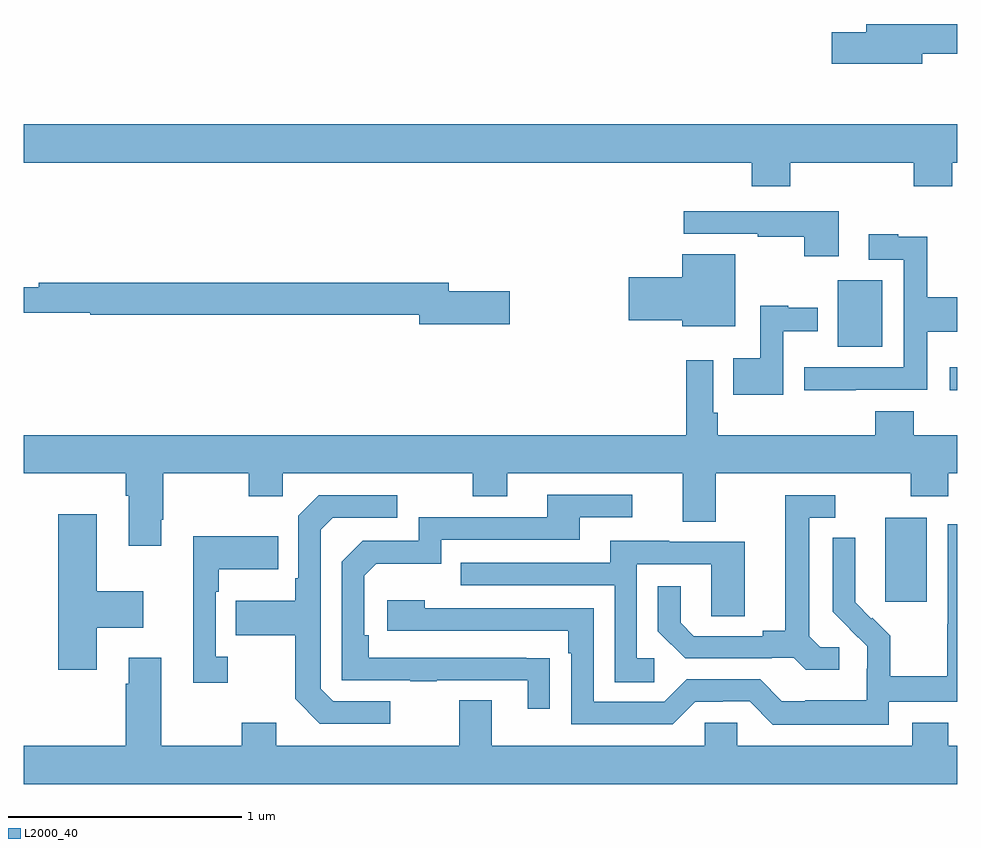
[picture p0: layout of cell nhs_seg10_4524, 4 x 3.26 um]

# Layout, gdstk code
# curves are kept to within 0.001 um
import gdstk
lib = gdstk.Library(unit=1e-6, precision=1e-09)
def R(c, l, rs):  # rectangles x0, y0, x1, y1
    for r in rs: c.add(gdstk.rectangle(r[:2], r[2:], *l))
def P(c, l, *ps):  # polygons
    for p in ps: c.add(gdstk.Polygon(p, *l))
L2000_40 = (2000, 40)

nhs_seg10_4524 = lib.new_cell('nhs_seg10_4524')
R(nhs_seg10_4524, L2000_40, [(372.692,1263.801,372.871,1264.162), (372.969,1264.709,373,1264.807), (372.488,1264.895,372.679,1265.179)])
P(nhs_seg10_4524, L2000_40, [(372.85,1266.15),(373,1266.15),(373,1266.278),(372.611,1266.278),(372.611,1266.242),(372.462,1266.242),(372.462,1266.107),(372.85,1266.107)],
  [(372.284,1265.684),(372.815,1265.684),(372.815,1265.582),(372.98,1265.582),(372.98,1265.684),(373,1265.684),(373,1265.848),(369,1265.848),(369,1265.684),(372.119,1265.684),(372.119,1265.582),(372.284,1265.582)],
  [(372.493,1265.475),(371.829,1265.475),(371.829,1265.379),(372.145,1265.379),(372.145,1265.367),(372.346,1265.367),(372.346,1265.283),(372.493,1265.283)],
  [(372.566,1264.71),(372.872,1264.71),(372.872,1264.958),(373,1264.958),(373,1265.106),(372.872,1265.106),(372.872,1265.366),(372.749,1265.366),(372.749,1265.377),(372.621,1265.377),(372.621,1265.268),(372.771,1265.268),(372.771,1264.806),(372.345,1264.806),(372.345,1264.709),(372.566,1264.709)],
  [(372.049,1265.29),(371.822,1265.29),(371.822,1265.192),(371.592,1265.192),(371.592,1265.009),(371.822,1265.009),(371.822,1264.982),(372.049,1264.982)],
  [(371.083,1265.132),(370.822,1265.132),(370.822,1265.168),(369.064,1265.168),(369.064,1265.149),(369,1265.149),(369,1265.04),(369.284,1265.04),(369.284,1265.032),(370.694,1265.032),(370.694,1264.99),(371.083,1264.99)],
  [(372.255,1264.961),(372.403,1264.961),(372.403,1265.061),(372.276,1265.061),(372.276,1265.071),(372.156,1265.071),(372.156,1264.846),(372.04,1264.846),(372.04,1264.688),(372.255,1264.688)],
  [(369.589,1264.153),(369.597,1264.153),(369.597,1264.352),(369.964,1264.352),(369.964,1264.253),(370.11,1264.253),(370.11,1264.352),(370.924,1264.352),(370.924,1264.253),(371.071,1264.253),(371.071,1264.352),(371.825,1264.352),(371.825,1264.144),(371.965,1264.144),(371.965,1264.352),(372.802,1264.352),(372.802,1264.253),(372.962,1264.253),(372.962,1264.352),(373,1264.352),(373,1264.516),(372.815,1264.516),(372.815,1264.618),(372.65,1264.618),(372.65,1264.516),(371.975,1264.516),(371.975,1264.612),(371.955,1264.612),(371.955,1264.837),(371.839,1264.837),(371.839,1264.516),(369,1264.516),(369,1264.352),(369.437,1264.352),(369.437,1264.256),(369.449,1264.256),(369.449,1264.041),(369.589,1264.041)],
  [(371.255,1263.56),(370.478,1263.561),(370.478,1263.658),(370.458,1263.658),(370.458,1263.912),(370.511,1263.965),(370.788,1263.965),(370.788,1264.068),(371.383,1264.068),(371.383,1264.164),(371.608,1264.164),(371.608,1264.26),(371.243,1264.26),(371.243,1264.164),(370.692,1264.164),(370.692,1264.062),(370.452,1264.062),(370.362,1263.972),(370.362,1263.465),(370.657,1263.465),(370.657,1263.46),(370.769,1263.46),(370.769,1263.465),(371.159,1263.465),(371.159,1263.342),(371.255,1263.342)],
  [(372.496,1263.606),(372.414,1263.606),(372.367,1263.653),(372.367,1264.161),(372.478,1264.161),(372.478,1264.257),(372.263,1264.257),(372.263,1263.677),(372.167,1263.677),(372.167,1263.654),(371.872,1263.654),(371.815,1263.711),(371.815,1263.868),(371.718,1263.868),(371.718,1263.674),(371.834,1263.558),(372.206,1263.558),(372.206,1263.561),(372.3,1263.561),(372.352,1263.509),(372.496,1263.509)],
  [(370.57,1263.375),(370.326,1263.375),(370.272,1263.429),(370.272,1264.11),(370.323,1264.161),(370.6,1264.161),(370.6,1264.257),(370.263,1264.257),(370.176,1264.17),(370.176,1263.901),(370.164,1263.901),(370.164,1263.805),(369.907,1263.805),(369.907,1263.658),(370.164,1263.658),(370.164,1263.385),(370.269,1263.279),(370.57,1263.279)],
  [(369.313,1263.689),(369.511,1263.689),(369.511,1263.847),(369.313,1263.847),(369.313,1264.177),(369.146,1264.177),(369.146,1263.51),(369.313,1263.51)],
  [(372.708,1263.372),(373,1263.372),(373,1264.134),(372.96,1264.134),(372.96,1263.704),(372.958,1263.704),(372.958,1263.481),(372.713,1263.481),(372.713,1263.655),(372.636,1263.732),(372.633,1263.729),(372.563,1263.8),(372.564,1264.076),(372.468,1264.076),(372.468,1263.758),(372.614,1263.61),(372.614,1263.513),(372.612,1263.513),(372.612,1263.379),(372.349,1263.379),(372.349,1263.375),(372.249,1263.375),(372.156,1263.468),(371.841,1263.468),(371.745,1263.372),(371.442,1263.372),(371.442,1263.774),(370.718,1263.774),(370.718,1263.808),(370.557,1263.808),(370.557,1263.678),(371.333,1263.678),(371.333,1263.581),(371.346,1263.581),(371.346,1263.276),(371.781,1263.276),(371.877,1263.372),(371.996,1263.372),(371.996,1263.375),(372.111,1263.375),(372.211,1263.275),(372.708,1263.275)],
  [(369.874,1263.566),(369.822,1263.566),(369.822,1263.845),(369.835,1263.845),(369.835,1263.941),(370.091,1263.941),(370.091,1264.081),(369.725,1264.081),(369.725,1263.453),(369.874,1263.453)],
  [(371.701,1263.558),(371.628,1263.558),(371.628,1263.963),(371.946,1263.963),(371.946,1263.739),(372.091,1263.739),(372.091,1264.059),(371.767,1264.059),(371.767,1264.063),(371.513,1264.063),(371.513,1263.969),(370.873,1263.969),(370.873,1263.873),(371.532,1263.873),(371.532,1263.457),(371.701,1263.457)],
  [(373,1263.184),(372.962,1263.184),(372.962,1263.283),(372.809,1263.283),(372.809,1263.184),(372.057,1263.184),(372.057,1263.282),(371.919,1263.282),(371.919,1263.184),(371.005,1263.184),(371.005,1263.379),(370.865,1263.379),(370.865,1263.184),(370.081,1263.184),(370.081,1263.283),(369.934,1263.283),(369.934,1263.184),(369.589,1263.184),(369.589,1263.562),(369.449,1263.562),(369.449,1263.449),(369.437,1263.449),(369.437,1263.184),(369,1263.184),(369,1263.02),(373,1263.02)])

lib.write_gds('nhs_seg10_4524.gds')
